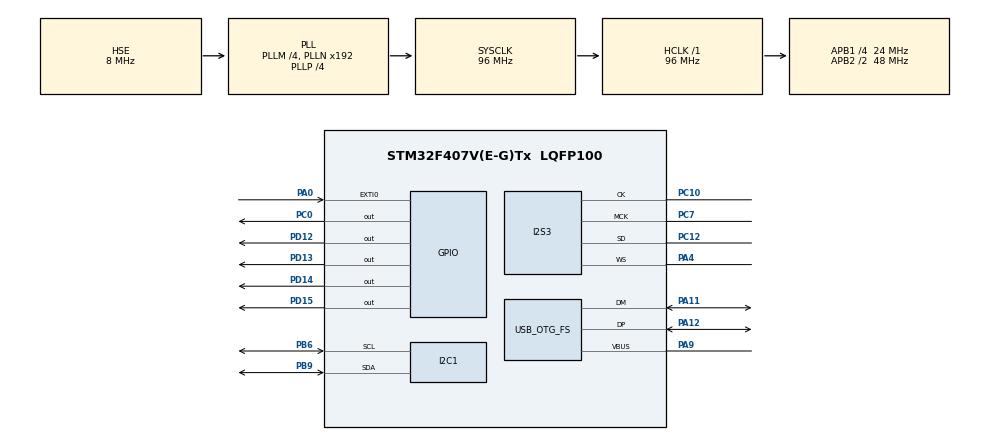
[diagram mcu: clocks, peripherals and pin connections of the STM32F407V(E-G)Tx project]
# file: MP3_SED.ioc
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Dma.Request0=SPI3_TX
Dma.SPI3_TX.0.Direction=DMA_MEMORY_TO_PERIPH
Dma.SPI3_TX.0.FIFOMode=DMA_FIFOMODE_ENABLE
Dma.SPI3_TX.0.FIFOThreshold=DMA_FIFO_THRESHOLD_FULL
Dma.SPI3_TX.0.Instance=DMA1_Stream5
Dma.SPI3_TX.0.MemBurst=DMA_MBURST_SINGLE
Dma.SPI3_TX.0.MemDataAlignment=DMA_MDATAALIGN_HALFWORD
Dma.SPI3_TX.0.MemInc=DMA_MINC_ENABLE
Dma.SPI3_TX.0.Mode=DMA_CIRCULAR
Dma.SPI3_TX.0.PeriphBurst=DMA_PBURST_SINGLE
Dma.SPI3_TX.0.PeriphDataAlignment=DMA_PDATAALIGN_HALFWORD
Dma.SPI3_TX.0.PeriphInc=DMA_PINC_DISABLE
Dma.SPI3_TX.0.Priority=DMA_PRIORITY_LOW
FATFS._USE_LFN=1
I2S3.AudioFreq=I2S_AUDIOFREQ_48K
I2S3.ErrorAudioFreq=0.15 %
I2S3.FullDuplexMode=I2S_FULLDUPLEXMODE_DISABLE
I2S3.Instance=SPI$Index
I2S3.RealAudioFreq=48.076 KHz
I2S3.VirtualMode=I2S_MODE_MASTER
Mcu.Family=STM32F4
Mcu.Name=STM32F407V(E-G)Tx
Mcu.Package=LQFP100
NVIC.DMA1_Stream5_IRQn=true\:0\:0\:false\:false\:true\:false\:true\:true
NVIC.EXTI0_IRQn=true\:0\:0\:false\:false\:true\:true\:true\:true
NVIC.OTG_FS_IRQn=true\:0\:0\:false\:false\:true\:true\:true\:true
NVIC.PriorityGroup=NVIC_PRIORITYGROUP_0
PA0-WKUP.GPIO_PuPd=GPIO_PULLDOWN
PA0-WKUP.Signal=GPXTI0
PA11.Mode=Host_Only
PA11.Signal=USB_OTG_FS_DM
PA12.Mode=Host_Only
PA12.Signal=USB_OTG_FS_DP
PA4.Mode=Half_Duplex_Master
PA4.Signal=I2S3_WS
PA9.Mode=Activate_VBUS
PA9.Signal=USB_OTG_FS_VBUS
PB6.Mode=I2C
PB6.Signal=I2C1_SCL
PB9.Mode=I2C
PB9.Signal=I2C1_SDA
PC0.Signal=GPIO_Output
PC10.Mode=Half_Duplex_Master
PC10.Signal=I2S3_CK
PC12.Mode=Half_Duplex_Master
PC12.Signal=I2S3_SD
PC7.Mode=Master_Clock_Activated
PC7.Signal=I2S3_MCK
PD12.Signal=GPIO_Output
PD13.Signal=GPIO_Output
PD14.Signal=GPIO_Output
PD15.Signal=GPIO_Output
PH0-OSC_IN.Mode=HSE-External-Oscillator
PH0-OSC_IN.Signal=RCC_OSC_IN
PH1-OSC_OUT.Mode=HSE-External-Oscillator
PH1-OSC_OUT.Signal=RCC_OSC_OUT
ProjectManager.HeapSize=0x200
ProjectManager.StackSize=0x400
ProjectManager.TargetToolchain=STM32CubeIDE
RCC.48MHZClocksFreq_Value=48000000
RCC.AHBFreq_Value=96000000
RCC.APB1CLKDivider=RCC_HCLK_DIV4
RCC.APB1Freq_Value=24000000
RCC.APB1TimFreq_Value=48000000
RCC.APB2CLKDivider=RCC_HCLK_DIV2
RCC.APB2Freq_Value=48000000
RCC.APB2TimFreq_Value=96000000
RCC.CortexFreq_Value=96000000
RCC.HCLKFreq_Value=96000000
RCC.HSE_VALUE=8000000
RCC.HSI_VALUE=16000000
RCC.PLLI2SN=160
RCC.PLLM=4
RCC.PLLP=RCC_PLLP_DIV4
RCC.PLLQ=8
RCC.SYSCLKFreq_VALUE=96000000
RCC.SYSCLKSource=RCC_SYSCLKSOURCE_PLLCLK
RCC.VCOOutputFreq_Value=384000000
TIM1.Prescaler=732-1
USB_HOST.BSP.number=1
USB_HOST.USBH_HandleTypeDef-MSC_FS=hUsbHostFS
USB_HOST.VirtualModeFS=Msc
USB_HOST0.BSP.STBoard=false
USB_HOST0.BSP.api=Unknown
USB_HOST0.BSP.condition=SW_VBUS_DRIVE_MSC_FS \= false
USB_HOST0.BSP.instance=PC0
USB_HOST0.BSP.ip=GPIO
USB_HOST0.BSP.mode=Output
USB_HOST0.BSP.name=Drive_VBUS_FS
USB_HOST0.BSP.solution=PC0
USB_OTG_FS.VirtualMode=Host_Only
USB_OTG_FS.phy_itface=HCD_PHY_EMBEDDED
VP_FATFS_VS_USB.Mode=USB
VP_TIM1_VS_ClockSourceINT.Mode=Internal
VP_USB_HOST_VS_USB_HOST_MSC_FS.Mode=MSC_FS
board=STM32F407G-DISC1

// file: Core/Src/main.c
/* USER CODE BEGIN Header */
/**
  ******************************************************************************
  * @file           : main.c
  * @brief          : Main program body
  ******************************************************************************
  * @attention
  *
  * Copyright (c) 2025 STMicroelectronics.
  * All rights reserved.
  *
  * This software is licensed under terms that can be found in the LICENSE file
  * in the root directory of this software component.
  * If no LICENSE file comes with this software, it is provided AS-IS.
  *
  ******************************************************************************
  */
/* USER CODE END Header */
#include "main.h"
#include "fatfs.h"
#include "usb_host.h"
#include "file_handling.h"
#include "waveplayer.h"

I2C_HandleTypeDef hi2c1;

I2S_HandleTypeDef hi2s3;
DMA_HandleTypeDef hdma_spi3_tx;

TIM_HandleTypeDef htim1;

void SystemClock_Config(void);
static void MX_GPIO_Init(void);
static void MX_DMA_Init(void);
static void MX_I2C1_Init(void);
static void MX_I2S3_Init(void);
static void MX_TIM1_Init(void);
void MX_USB_HOST_Process(void);

/* USER CODE BEGIN 0 */

extern ApplicationTypeDef Appli_state; 			/*Declaramos el estado del usb como una vaiable externa ya que viene de usb_host.c*/
extern AUDIO_PLAYBACK_StateTypeDef AudioState;  /*Tambien variable de waveplayer.c que tiene que se tiene que declarar externa*/
uint8_t acabar = 0;								/*Variable que indica si se para la musica*/
uint8_t presionado = 0;							/*Variable que indica si ha sido presionado el boton*/
uint8_t ciclar = 0;								/*Variable que indica si ciclan los leds (ciclar =1)*/
uint32_t contador_leds = 0;						/*Contador para ciclar leds cada x tiempo*/

/*Utilizaremos estos dos callback para implementar la funcionalidad de pausa, siguiente, previa cancion dependiendo de cuantas veces le de el usuario al boton en un plazo de medio segundo*/
void HAL_GPIO_EXTI_Callback(uint16_t GPIO_PIN)
{
	if(GPIO_PIN==GPIO_PIN_0)
	{
		if (presionado==0)							/*Comprueba si es la primera vez que le da al boton en un plazo de medio segundo*/
		{
			presionado = 1;
					__HAL_TIM_SET_COUNTER(&htim1, 0);/*reseteo del timer*/
					HAL_TIM_Base_Start_IT(&htim1);	/*comienzo del timer si es la primer vez que lo pulsa en un plazo de medio segundo*/
		}
		else										/*Si no es la primera vez incrementar el numero de veces pulsadas*/
			++presionado;
	}
}
void HAL_TIM_PeriodElapsedCallback(TIM_HandleTypeDef *htim){
	if(presionado==1)								/*Si cuando se acaba el plazo de medio segundo le usuario a pulsado una vez se para la cancio o se resume*/
	{
		if (AudioState==AUDIO_STATE_PLAY){			/*Si estaba en play se para*/
			AudioState = AUDIO_STATE_PAUSE;
			ciclar = 0;

		}
		if (AudioState==AUDIO_STATE_WAIT){			/*Si estaba parado se resume*/
			AudioState = AUDIO_STATE_RESUME;
			ciclar = 1;
		}
	}
	else if(presionado ==2)							/*Si le dio dos veces se pasa a la siguiente cancion*/
		AudioState = AUDIO_STATE_NEXT;
	else											/*Si le dio mas de dos veces se pasa a la anterior cancion*/
		AudioState = AUDIO_STATE_PREVIOUS;
	presionado = 0;									/*reseteo de presionado*/
	HAL_TIM_Base_Stop_IT(htim);						/*se para el timer*/
}
/* USER CODE END 0 */

int main(void)
{

  /* MCU Configuration--------------------------------------------------------*/

  /* Reset of all peripherals, Initializes the Flash interface and the Systick. */
  HAL_Init();

  /* Configure the system clock */
  SystemClock_Config();

  /* Initialize all configured peripherals */
  MX_GPIO_Init();
  MX_DMA_Init();
  MX_I2C1_Init();
  MX_I2S3_Init();
  MX_TIM1_Init();
  MX_FATFS_Init();
  MX_USB_HOST_Init();
  /* USER CODE BEGIN 2 */
  HAL_GPIO_WritePin(GPIOD,GPIO_PIN_12,GPIO_RESET_PIN);						/*Init de leds*/
  HAL_GPIO_WritePin(GPIOD,GPIO_PIN_13,GPIO_RESET_PIN);
  HAL_GPIO_WritePin(GPIOD,GPIO_PIN_14,GPIO_RESET_PIN);
  HAL_GPIO_WritePin(GPIOD,GPIO_PIN_15,GPIO_RESET_PIN);
  int i=1;
  uint16_t pin_numero[] = {GPIO_PIN_12,GPIO_PIN_13,GPIO_PIN_14,GPIO_PIN_15}; /*vector de leds*/

  /* USER CODE END 2 */

  /* Infinite loop */
  while (1)
  {
    MX_USB_HOST_Process();

    /* USER CODE BEGIN 3 */
    if (Appli_state==APPLICATION_READY)					/*Comprobamos si el USB esta listo para iniciar comunicacion*/
    {
    	Mount_USB();									/*Iniciamos comunicacion con USB*/
    	AUDIO_PLAYER_START(0);							/*Comenzar a poner audio desde la primera pista (0)*/
    	ciclar = 1;
    	while (!acabar) 								/*Se repite el bucle mientras no haya acabado la pista*/
    	{
    		AUDIO_PLAYER_Process(TRUE);					/*Con el parametro en true una vez que se acaben las canciones del disco volvera al principio*/
    		contador_leds++;
    		if(AudioState==AUDIO_STATE_STOP)
    			acabar = 1;
    		if ((ciclar==1)&&(contador_leds>=10000)){	/*Comprueba si esta activo ciclar y si ha pasado el tiempo de ciclo*/
    			contador_leds = 0;
    			if (i==3)
    			{
    				HAL_GPIO_WritePin(GPIOD,pin_numero[i],GPIO_RESET_PIN);
    				i = 0;
    				HAL_GPIO_WritePin(GPIOD,pin_numero[i],GPIO_SET_PIN);
    			}
    			else
    			{
    				i++;
    				HAL_GPIO_WritePin(GPIOD,pin_numero[i],GPIO_SET_PIN);
    				HAL_GPIO_WritePin(GPIOD,pin_numero[i-1],GPIO_RESET_PIN);
    			}
    	}
    }
  }
  /* USER CODE END 3 */
}

void SystemClock_Config(void)
{
  RCC_OscInitTypeDef RCC_OscInitStruct = {0};
  RCC_ClkInitTypeDef RCC_ClkInitStruct = {0};

  /** Configure the main internal regulator output voltage
  */
  __HAL_RCC_PWR_CLK_ENABLE();
  __HAL_PWR_VOLTAGESCALING_CONFIG(PWR_REGULATOR_VOLTAGE_SCALE1);

  /** Initializes the RCC Oscillators according to the specified parameters
  * in the RCC_OscInitTypeDef structure.
  */
  RCC_OscInitStruct.OscillatorType = RCC_OSCILLATORTYPE_HSE;
  RCC_OscInitStruct.HSEState = RCC_HSE_ON;
  RCC_OscInitStruct.PLL.PLLState = RCC_PLL_ON;
  RCC_OscInitStruct.PLL.PLLSource = RCC_PLLSOURCE_HSE;
  RCC_OscInitStruct.PLL.PLLM = 4;
  RCC_OscInitStruct.PLL.PLLN = 192;
  RCC_OscInitStruct.PLL.PLLP = RCC_PLLP_DIV4;
  RCC_OscInitStruct.PLL.PLLQ = 8;
  if (HAL_RCC_OscConfig(&RCC_OscInitStruct) != HAL_OK)
  {
    Error_Handler();
  }

  /** Initializes the CPU, AHB and APB buses clocks
  */
  RCC_ClkInitStruct.ClockType = RCC_CLOCKTYPE_HCLK|RCC_CLOCKTYPE_SYSCLK
                              |RCC_CLOCKTYPE_PCLK1|RCC_CLOCKTYPE_PCLK2;
  RCC_ClkInitStruct.SYSCLKSource = RCC_SYSCLKSOURCE_PLLCLK;
  RCC_ClkInitStruct.AHBCLKDivider = RCC_SYSCLK_DIV1;
  RCC_ClkInitStruct.APB1CLKDivider = RCC_HCLK_DIV4;
  RCC_ClkInitStruct.APB2CLKDivider = RCC_HCLK_DIV2;

  if (HAL_RCC_ClockConfig(&RCC_ClkInitStruct, FLASH_LATENCY_3) != HAL_OK)
  {
    Error_Handler();
  }
}

static void MX_I2C1_Init(void)
{

  hi2c1.Instance = I2C1;
  hi2c1.Init.ClockSpeed = 100000;
  hi2c1.Init.DutyCycle = I2C_DUTYCYCLE_2;
  hi2c1.Init.OwnAddress1 = 0;
  hi2c1.Init.AddressingMode = I2C_ADDRESSINGMODE_7BIT;
  hi2c1.Init.DualAddressMode = I2C_DUALADDRESS_DISABLE;
  hi2c1.Init.OwnAddress2 = 0;
  hi2c1.Init.GeneralCallMode = I2C_GENERALCALL_DISABLE;
  hi2c1.Init.NoStretchMode = I2C_NOSTRETCH_DISABLE;
  if (HAL_I2C_Init(&hi2c1) != HAL_OK)
  {
    Error_Handler();
  }

}

static void MX_I2S3_Init(void)
{

  hi2s3.Instance = SPI3;
  hi2s3.Init.Mode = I2S_MODE_MASTER_TX;
  hi2s3.Init.Standard = I2S_STANDARD_PHILIPS;
  hi2s3.Init.DataFormat = I2S_DATAFORMAT_16B;
  hi2s3.Init.MCLKOutput = I2S_MCLKOUTPUT_ENABLE;
  hi2s3.Init.AudioFreq = I2S_AUDIOFREQ_48K;
  hi2s3.Init.CPOL = I2S_CPOL_LOW;
  hi2s3.Init.ClockSource = I2S_CLOCK_PLL;
  hi2s3.Init.FullDuplexMode = I2S_FULLDUPLEXMODE_DISABLE;
  if (HAL_I2S_Init(&hi2s3) != HAL_OK)
  {
    Error_Handler();
  }

}

static void MX_TIM1_Init(void)
{

  TIM_ClockConfigTypeDef sClockSourceConfig = {0};
  TIM_MasterConfigTypeDef sMasterConfig = {0};

  htim1.Instance = TIM1;
  htim1.Init.Prescaler = 732-1;
  htim1.Init.CounterMode = TIM_COUNTERMODE_UP;
  htim1.Init.Period = 65535;
  htim1.Init.ClockDivision = TIM_CLOCKDIVISION_DIV1;
  htim1.Init.RepetitionCounter = 0;
  htim1.Init.AutoReloadPreload = TIM_AUTORELOAD_PRELOAD_DISABLE;
  if (HAL_TIM_Base_Init(&htim1) != HAL_OK)
  {
    Error_Handler();
  }
  sClockSourceConfig.ClockSource = TIM_CLOCKSOURCE_INTERNAL;
  if (HAL_TIM_ConfigClockSource(&htim1, &sClockSourceConfig) != HAL_OK)
  {
    Error_Handler();
  }
  sMasterConfig.MasterOutputTrigger = TIM_TRGO_RESET;
  sMasterConfig.MasterSlaveMode = TIM_MASTERSLAVEMODE_DISABLE;
  if (HAL_TIMEx_MasterConfigSynchronization(&htim1, &sMasterConfig) != HAL_OK)
  {
    Error_Handler();
  }

}

static void MX_DMA_Init(void)
{

  /* DMA controller clock enable */
  __HAL_RCC_DMA1_CLK_ENABLE();

  /* DMA interrupt init */
  /* DMA1_Stream5_IRQn interrupt configuration */
  HAL_NVIC_SetPriority(DMA1_Stream5_IRQn, 0, 0);
  HAL_NVIC_EnableIRQ(DMA1_Stream5_IRQn);

}

static void MX_GPIO_Init(void)
{
  GPIO_InitTypeDef GPIO_InitStruct = {0};

  /* GPIO Ports Clock Enable */
  __HAL_RCC_GPIOH_CLK_ENABLE();
  __HAL_RCC_GPIOC_CLK_ENABLE();
  __HAL_RCC_GPIOA_CLK_ENABLE();
  __HAL_RCC_GPIOD_CLK_ENABLE();
  __HAL_RCC_GPIOB_CLK_ENABLE();

  /*Configure GPIO pin Output Level */
  HAL_GPIO_WritePin(GPIOC, GPIO_PIN_0, GPIO_PIN_RESET);

  /*Configure GPIO pin Output Level */
  HAL_GPIO_WritePin(GPIOD, GPIO_PIN_12|GPIO_PIN_13|GPIO_PIN_14|GPIO_PIN_15, GPIO_PIN_RESET);

  /*Configure GPIO pin : PC0 */
  GPIO_InitStruct.Pin = GPIO_PIN_0;
  GPIO_InitStruct.Mode = GPIO_MODE_OUTPUT_PP;
  GPIO_InitStruct.Pull = GPIO_NOPULL;
  GPIO_InitStruct.Speed = GPIO_SPEED_FREQ_LOW;
  HAL_GPIO_Init(GPIOC, &GPIO_InitStruct);

  /*Configure GPIO pin : PA0 */
  GPIO_InitStruct.Pin = GPIO_PIN_0;
  GPIO_InitStruct.Mode = GPIO_MODE_IT_RISING;
  GPIO_InitStruct.Pull = GPIO_PULLDOWN;
  HAL_GPIO_Init(GPIOA, &GPIO_InitStruct);

  /*Configure GPIO pins : PD12 PD13 PD14 PD15 */
  GPIO_InitStruct.Pin = GPIO_PIN_12|GPIO_PIN_13|GPIO_PIN_14|GPIO_PIN_15;
  GPIO_InitStruct.Mode = GPIO_MODE_OUTPUT_PP;
  GPIO_InitStruct.Pull = GPIO_NOPULL;
  GPIO_InitStruct.Speed = GPIO_SPEED_FREQ_LOW;
  HAL_GPIO_Init(GPIOD, &GPIO_InitStruct);

  /* EXTI interrupt init*/
  HAL_NVIC_SetPriority(EXTI0_IRQn, 0, 0);
  HAL_NVIC_EnableIRQ(EXTI0_IRQn);

}

void Error_Handler(void)
{
  __disable_irq();
  while (1)
  {
  }
}
